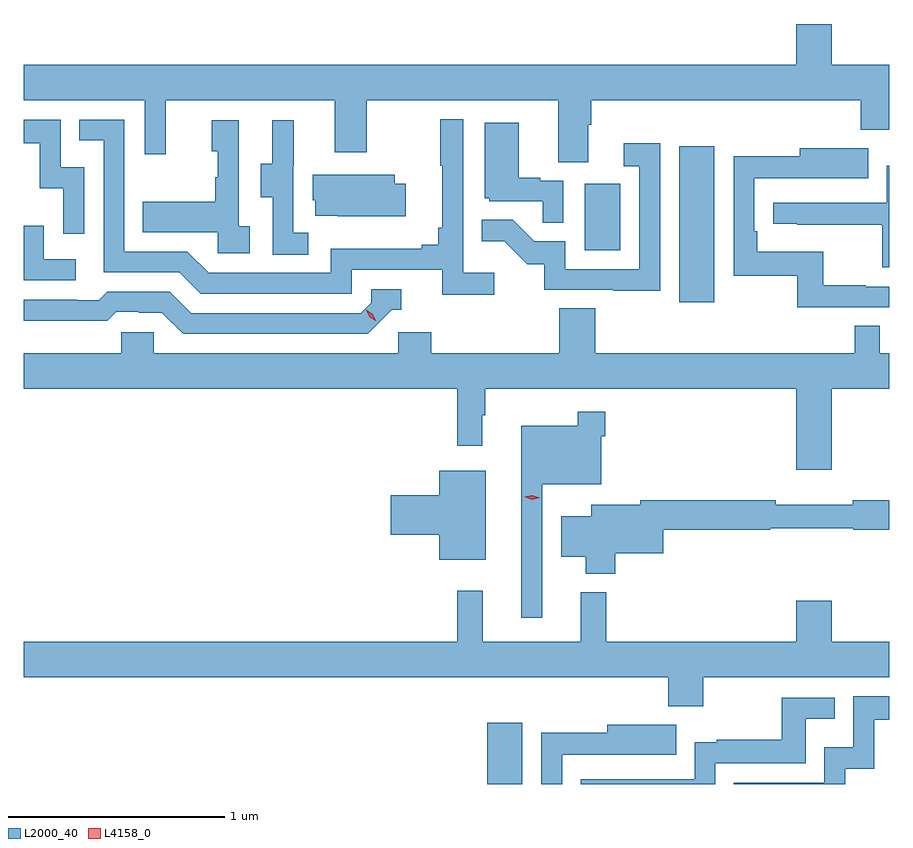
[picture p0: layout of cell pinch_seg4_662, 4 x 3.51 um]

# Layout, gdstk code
import gdstk
lib = gdstk.Library(unit=1e-6, precision=1e-09)
def R(c, l, rs):  # rectangles x0, y0, x1, y1
    for r in rs: c.add(gdstk.rectangle(r[:2], r[2:], *l))
def P(c, l, *ps):  # polygons
    for p in ps: c.add(gdstk.Polygon(p, *l))
L2000_40 = (2000, 40)
L4158_0 = (4158, 0)

pinch_seg4_662 = lib.new_cell('pinch_seg4_662')
R(pinch_seg4_662, L2000_40, [(1134.608,765.69,1134.769,765.973), (1135.496,767.916,1135.657,768.637), (1135.058,768.156,1135.222,768.463)])
P(pinch_seg4_662, L2000_40, [(1135.075,768.736),(1135.088,768.736),(1135.088,768.848),(1136.333,768.848),(1136.333,768.713),(1136.466,768.713),(1136.466,769.012),(1136.2,769.012),(1136.2,769.201),(1136.036,769.201),(1136.036,769.012),(1132.466,769.012),(1132.466,768.848),(1133.025,768.848),(1133.025,768.6),(1133.123,768.6),(1133.123,768.848),(1133.903,768.848),(1133.903,768.609),(1134.051,768.609),(1134.051,768.848),(1134.935,768.848),(1134.935,768.562),(1135.075,768.562)],
  [(1134.64,768.052),(1134.498,768.052),(1134.498,768.76),(1134.39,768.76),(1134.39,768.547),(1134.401,768.547),(1134.401,768.259),(1134.382,768.259),(1134.382,768.182),(1134.305,768.182),(1134.305,768.163),(1133.886,768.163),(1133.886,768.051),(1133.322,768.051),(1133.223,768.15),(1132.932,768.15),(1132.932,768.759),(1132.723,768.759),(1132.723,768.663),(1132.836,768.663),(1132.836,768.054),(1133.186,768.054),(1133.285,767.955),(1133.982,767.955),(1133.982,768.066),(1134.401,768.066),(1134.401,767.95),(1134.64,767.95)],
  [(1132.746,768.54),(1132.638,768.54),(1132.638,768.759),(1132.466,768.759),(1132.466,768.651),(1132.541,768.651),(1132.541,768.443),(1132.65,768.443),(1132.65,768.231),(1132.746,768.231)],
  [(1133.512,768.266),(1133.46,768.266),(1133.46,768.757),(1133.336,768.757),(1133.336,768.612),(1133.362,768.612),(1133.362,768.494),(1133.352,768.494),(1133.352,768.379),(1133.017,768.379),(1133.017,768.239),(1133.364,768.239),(1133.364,768.141),(1133.512,768.141)],
  [(1133.782,768.237),(1133.712,768.237),(1133.712,768.543),(1133.714,768.543),(1133.714,768.757),(1133.615,768.757),(1133.615,768.555),(1133.561,768.555),(1133.561,768.4),(1133.616,768.4),(1133.616,768.136),(1133.782,768.136)],
  [(1134.96,768.477),(1134.854,768.477),(1134.854,768.49),(1134.754,768.49),(1134.754,768.745),(1134.596,768.745),(1134.596,768.396),(1134.618,768.396),(1134.618,768.381),(1134.865,768.381),(1134.865,768.283),(1134.96,768.283)],
  [(1135.407,768.649),(1135.239,768.649),(1135.239,768.543),(1135.311,768.543),(1135.311,768.069),(1134.969,768.069),(1134.969,768.198),(1134.825,768.198),(1134.727,768.296),(1134.583,768.296),(1134.583,768.197),(1134.687,768.197),(1134.794,768.09),(1134.871,768.09),(1134.871,767.973),(1135.189,767.973),(1135.189,767.968),(1135.407,767.968)],
  [(1136.466,767.988),(1136.357,767.988),(1136.357,767.993),(1136.161,767.993),(1136.161,768.148),(1135.856,768.148),(1135.856,768.244),(1135.842,768.244),(1135.842,768.489),(1136.155,768.489),(1136.155,768.488),(1136.369,768.488),(1136.369,768.628),(1136.051,768.628),(1136.051,768.59),(1135.746,768.59),(1135.746,768.039),(1136.04,768.039),(1136.04,767.892),(1136.466,767.892)],
  [(1136.466,768.547),(1136.454,768.547),(1136.454,768.375),(1135.929,768.375),(1135.929,768.279),(1136.041,768.279),(1136.041,768.274),(1136.434,768.274),(1136.434,768.078),(1136.466,768.078)],
  [(1134.232,768.462),(1134.181,768.462),(1134.181,768.505),(1133.801,768.505),(1133.801,768.387),(1133.813,768.387),(1133.813,768.315),(1133.917,768.315),(1133.917,768.314),(1134.232,768.314)],
  [(1132.708,768.114),(1132.56,768.114),(1132.56,768.268),(1132.466,768.268),(1132.466,768.018),(1132.708,768.018)],
  [(1134.168,767.88),(1134.211,767.88),(1134.211,767.976),(1134.072,767.976),(1134.072,767.913),(1134.024,767.865),(1133.241,767.865),(1133.142,767.964),(1132.853,767.964),(1132.814,767.925),(1132.715,767.925),(1132.715,767.928),(1132.466,767.928),(1132.466,767.831),(1132.62,767.831),(1132.62,767.829),(1132.853,767.829),(1132.895,767.871),(1132.998,767.871),(1132.998,767.868),(1133.105,767.868),(1133.204,767.769),(1134.057,767.769)],
  [(1136.2,767.516),(1136.466,767.516),(1136.466,767.68),(1136.421,767.68),(1136.421,767.807),(1136.305,767.807),(1136.305,767.68),(1135.106,767.68),(1135.106,767.888),(1134.941,767.888),(1134.941,767.68),(1134.35,767.68),(1134.35,767.778),(1134.198,767.778),(1134.198,767.68),(1133.067,767.68),(1133.067,767.778),(1132.917,767.778),(1132.917,767.68),(1132.466,767.68),(1132.466,767.516),(1134.469,767.516),(1134.469,767.253),(1134.586,767.253),(1134.586,767.393),(1134.598,767.393),(1134.598,767.516),(1136.036,767.516),(1136.036,767.142),(1136.2,767.142)],
  [(1134.861,767.075),(1135.134,767.075),(1135.134,767.297),(1135.154,767.297),(1135.154,767.41),(1135.026,767.41),(1135.026,767.344),(1134.764,767.344),(1134.764,766.458),(1134.861,766.458)],
  [(1134.601,767.137),(1134.386,767.137),(1134.386,767.024),(1134.162,767.024),(1134.162,766.841),(1134.386,766.841),(1134.386,766.727),(1134.601,766.727)],
  [(1135.199,766.757),(1135.42,766.757),(1135.42,766.864),(1135.916,766.864),(1135.916,766.872),(1136.298,766.872),(1136.298,766.864),(1136.466,766.864),(1136.466,767),(1136.296,767),(1136.296,766.981),(1135.94,766.981),(1135.94,767),(1135.316,767),(1135.316,766.981),(1135.088,766.981),(1135.088,766.927),(1134.95,766.927),(1134.95,766.739),(1135.064,766.739),(1135.064,766.661),(1135.199,766.661)],
  [(1135.605,766.184),(1136.466,766.184),(1136.466,766.348),(1136.2,766.348),(1136.2,766.537),(1136.036,766.537),(1136.036,766.348),(1135.157,766.348),(1135.157,766.576),(1135.04,766.576),(1135.04,766.348),(1134.587,766.348),(1134.587,766.582),(1134.469,766.582),(1134.469,766.348),(1132.466,766.348),(1132.466,766.184),(1135.445,766.184),(1135.445,766.049),(1135.605,766.049)],
  [(1136.262,765.761),(1136.395,765.761),(1136.395,765.987),(1136.466,765.987),(1136.466,766.095),(1136.298,766.095),(1136.298,765.859),(1136.166,765.859),(1136.166,765.696),(1135.747,765.696),(1135.747,765.69),(1136.262,765.69)],
  [(1135.662,765.786),(1136.079,765.786),(1136.079,765.992),(1136.213,765.992),(1136.213,766.089),(1135.968,766.089),(1135.968,765.895),(1135.669,765.895),(1135.669,765.883),(1135.566,765.883),(1135.566,765.711),(1135.041,765.711),(1135.041,765.69),(1135.662,765.69)],
  [(1134.954,765.825),(1135.267,765.825),(1135.267,765.824),(1135.481,765.824),(1135.481,765.964),(1135.163,765.964),(1135.163,765.926),(1134.858,765.926),(1134.858,765.69),(1134.954,765.69)])
P(pinch_seg4_662, L4158_0, [(1134.814,767.004),(1134.78,767.016),(1134.779,767.017),(1134.78,767.017),(1134.816,767.024),(1134.851,767.012),(1134.851,767.012),(1134.851,767.012)],
  [(1134.096,767.828),(1134.065,767.847),(1134.049,767.88),(1134.049,767.88),(1134.049,767.88),(1134.08,767.861),(1134.096,767.828),(1134.096,767.828)])

lib.write_gds('pinch_seg4_662.gds')
